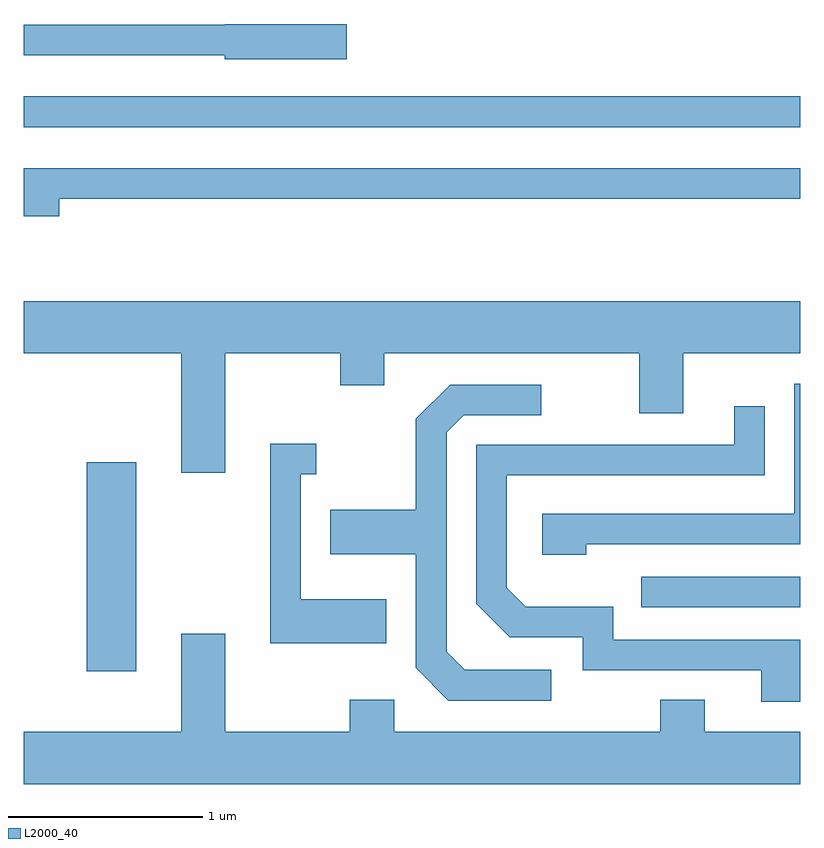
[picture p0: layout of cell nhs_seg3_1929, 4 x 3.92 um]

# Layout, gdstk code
import gdstk
lib = gdstk.Library(unit=1e-6, precision=1e-09)
def R(c, l, rs):  # rectangles x0, y0, x1, y1
    for r in rs: c.add(gdstk.rectangle(r[:2], r[2:], *l))
def P(c, l, *ps):  # polygons
    for p in ps: c.add(gdstk.Polygon(p, *l))
L2000_40 = (2000, 40)

nhs_seg3_1929 = lib.new_cell('nhs_seg3_1929')
R(nhs_seg3_1929, L2000_40, [(241.936,1166.556,242.189,1167.634), (244.793,1166.886,245.611,1167.044), (241.611,1169.361,245.611,1169.519)])
P(nhs_seg3_1929, L2000_40, [(243.274,1169.892),(242.646,1169.892),(242.646,1169.889),(241.611,1169.889),(241.611,1169.731),(242.646,1169.731),(242.646,1169.711),(243.274,1169.711)],
  [(241.794,1168.991),(245.611,1168.991),(245.611,1169.149),(241.611,1169.149),(241.611,1168.901),(241.794,1168.901)],
  [(242.649,1168.196),(243.241,1168.196),(243.241,1168.031),(243.469,1168.031),(243.469,1168.196),(244.781,1168.196),(244.781,1167.886),(245.009,1167.886),(245.009,1168.196),(245.611,1168.196),(245.611,1168.464),(241.611,1168.464),(241.611,1168.196),(242.421,1168.196),(242.421,1167.581),(242.649,1167.581)],
  [(244.509,1167.211),(245.611,1167.211),(245.611,1168.039),(245.581,1168.039),(245.581,1167.369),(244.281,1167.369),(244.281,1167.156),(244.509,1167.156)],
  [(244.328,1166.564),(243.882,1166.564),(243.789,1166.657),(243.789,1167.789),(243.877,1167.876),(244.278,1167.876),(244.278,1168.034),(243.809,1168.034),(243.631,1167.857),(243.631,1167.389),(243.191,1167.389),(243.191,1167.161),(243.631,1167.161),(243.631,1166.574),(243.799,1166.406),(244.328,1166.406)],
  [(245.611,1166.719),(244.649,1166.719),(244.649,1166.889),(244.197,1166.889),(244.099,1166.987),(244.099,1167.566),(245.429,1167.566),(245.429,1167.923),(245.271,1167.923),(245.271,1167.724),(243.941,1167.724),(243.941,1166.904),(244.114,1166.731),(244.491,1166.731),(244.491,1166.561),(245.411,1166.561),(245.411,1166.401),(245.611,1166.401)],
  [(243.479,1166.929),(243.039,1166.929),(243.039,1167.571),(243.118,1167.571),(243.118,1167.729),(242.881,1167.729),(242.881,1166.701),(243.479,1166.701)],
  [(245.611,1166.244),(245.119,1166.244),(245.119,1166.409),(244.891,1166.409),(244.891,1166.244),(243.519,1166.244),(243.519,1166.409),(243.291,1166.409),(243.291,1166.244),(242.649,1166.244),(242.649,1166.749),(242.421,1166.749),(242.421,1166.244),(241.611,1166.244),(241.611,1165.976),(245.611,1165.976)])

lib.write_gds('nhs_seg3_1929.gds')
